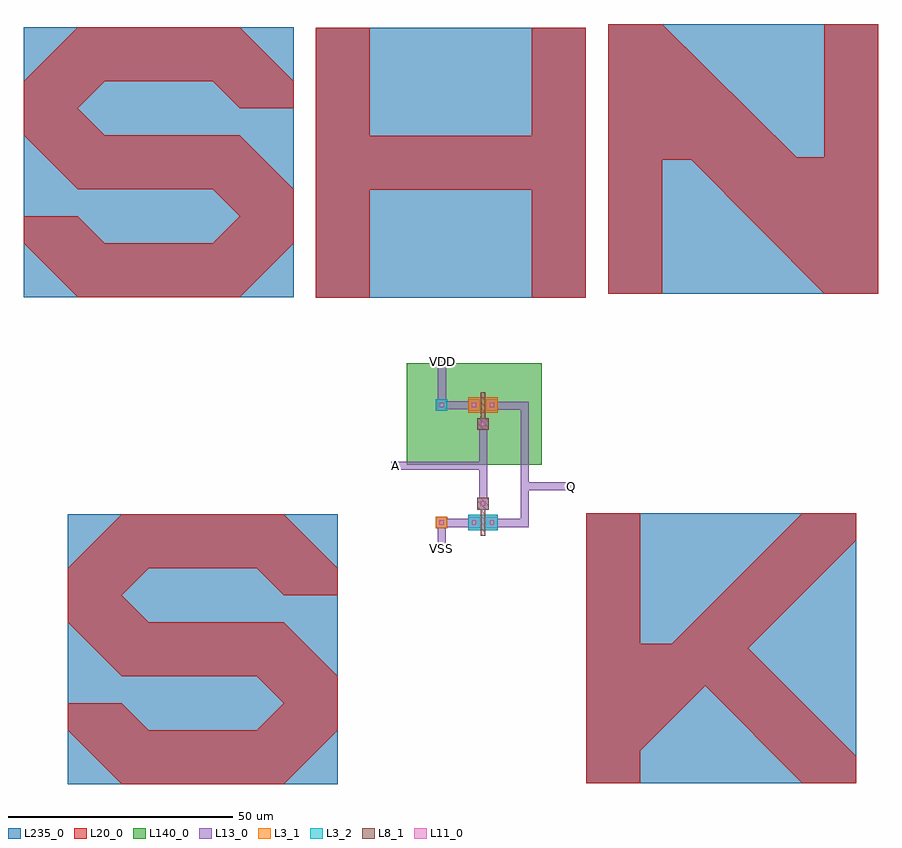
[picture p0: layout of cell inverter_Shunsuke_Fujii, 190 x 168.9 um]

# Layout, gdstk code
from math import pi, radians
import gdstk
lib = gdstk.Library(unit=1e-6, precision=1e-07)
def R(c, l, rs):  # rectangles x0, y0, x1, y1
    for r in rs: c.add(gdstk.rectangle(r[:2], r[2:], *l))
def P(c, l, *ps):  # polygons
    for p in ps: c.add(gdstk.Polygon(p, *l))
L3_1 = (3, 1)
L3_2 = (3, 2)
L8_1 = (8, 1)
L11_0 = (11, 0)
L13_0 = (13, 0)
L20_0 = (20, 0)
L140_0 = (140, 0)
L235_0 = (235, 0)

fet_p = lib.new_cell('fet_p')
R(fet_p, L3_1, [(-3.3,-1.7,3.3,1.7)])
R(fet_p, L11_0, [(-2.5,-0.5,-1.5,0.5), (1.5,-0.5,2.5,0.5)])
R(fet_p, L13_0, [(-3.3,-1.3,-0.7,1.3), (0.7,-1.3,3.3,1.3)])
fet_p.add(gdstk.FlexPath([(0,-2.9),(0,2.9)], 1, ends="flush", simple_path=True, layer=8, datatype=1))  # L8_1

cont_g = lib.new_cell('cont_g')
R(cont_g, L8_1, [(-1.3,-1.3,1.3,1.3)])
R(cont_g, L11_0, [(-0.5,-0.5,0.5,0.5)])
R(cont_g, L13_0, [(-1.3,-1.3,1.3,1.3)])

cont_n = lib.new_cell('cont_n')
R(cont_n, L3_2, [(-1.3,-1.3,1.3,1.3)])
R(cont_n, L11_0, [(-0.5,-0.5,0.5,0.5)])
R(cont_n, L13_0, [(-1.3,-1.3,1.3,1.3)])

cont_p = lib.new_cell('cont_p')
R(cont_p, L3_1, [(-1.3,-1.3,1.3,1.3)])
R(cont_p, L11_0, [(-0.5,-0.5,0.5,0.5)])
R(cont_p, L13_0, [(-1.3,-1.3,1.3,1.3)])

fet_n = lib.new_cell('fet_n')
R(fet_n, L3_2, [(-3.3,-1.7,3.3,1.7)])
R(fet_n, L11_0, [(-2.5,-0.5,-1.5,0.5), (1.5,-0.5,2.5,0.5)])
R(fet_n, L13_0, [(-3.3,-1.3,-0.7,1.3), (0.7,-1.3,3.3,1.3)])
fet_n.add(gdstk.FlexPath([(0,-2.9),(0,2.9)], 1, ends="flush", simple_path=True, layer=8, datatype=1))  # L8_1

c_k = lib.new_cell('K')
P(c_k, L20_0, [(0,0),(0,30),(6,30),(6,15.5),(9.5,15.5),(24,30),(30,30),(30,27),(18,15),(30,3),(30,0),(24,0),(13.2,10.8),(6,3.6),(6,0)])
R(c_k, L235_0, [(0,0,30,30)])

c_s = lib.new_cell('S')
P(c_s, L20_0, [(6,0),(0,6),(0,9),(6,9),(9,6),(21,6),(24,9),(21,12),(6,12),(0,18),(0,24),(6,30),(24,30),(30,24),(30,21),(24,21),(21,24),(9,24),(6,21),(9,18),(24,18),(30,12),(30,6),(24,0)])
R(c_s, L235_0, [(0,0,30,30)])

c_n = lib.new_cell('N')
P(c_n, L20_0, [(0,0),(0,30),(6,30),(20.9,15.2),(24,15.2),(24,30),(30,30),(30,0),(24,0),(9.2,14.9),(6,14.9),(6,0)])
R(c_n, L235_0, [(0,0,30,30)])

c_h = lib.new_cell('H')
P(c_h, L20_0, [(0,0),(0,30),(6,30),(6,18),(24,18),(24,30),(30,30),(30,0),(24,0),(24,12),(6,12),(6,0)])
R(c_h, L235_0, [(0,0,30,30)])

inverter_shunsuke_fujii = lib.new_cell('inverter_Shunsuke_Fujii')
R(inverter_shunsuke_fujii, L140_0, [(-22.9,2.3,7.1,24.8)])
inverter_shunsuke_fujii.add(gdstk.FlexPath([(-15.1,25.4),(-15.1,15.5),(-7.9,15.5)], 1.8, ends="flush", simple_path=True, layer=13, datatype=0))  # L13_0
inverter_shunsuke_fujii.add(gdstk.FlexPath([(-3.9,15.4),(3.3,15.4),(3.3,-10.7),(-4.4,-10.7)], 1.8, ends="flush", simple_path=True, layer=13, datatype=0))  # L13_0
inverter_shunsuke_fujii.add(gdstk.FlexPath([(3.3,-2.5),(14.2,-2.5)], 1.8, ends="flush", simple_path=True, layer=13, datatype=0))  # L13_0
inverter_shunsuke_fujii.add(gdstk.FlexPath([(-5.9,11.2),(-5.9,-6.5)], 1.8, ends="flush", simple_path=True, layer=13, datatype=0))  # L13_0
inverter_shunsuke_fujii.add(gdstk.FlexPath([(-5.9,2),(-26.4,2)], 1.8, ends="flush", simple_path=True, layer=13, datatype=0))  # L13_0
inverter_shunsuke_fujii.add(gdstk.FlexPath([(-7.9,-10.7),(-15.2,-10.7),(-15.2,-16.7)], 1.8, ends="flush", simple_path=True, layer=13, datatype=0))  # L13_0
inverter_shunsuke_fujii.add(gdstk.Reference(fet_p, (-6,15.5), rotation=pi))
inverter_shunsuke_fujii.add(gdstk.Reference(cont_g, (-6,11.3), rotation=pi))
inverter_shunsuke_fujii.add(gdstk.Reference(cont_n, (-15.2,15.5), rotation=pi))
inverter_shunsuke_fujii.add(gdstk.Reference(cont_g, (-6,-6.4), rotation=3*pi/2))
inverter_shunsuke_fujii.add(gdstk.Reference(cont_p, (-15.2,-10.6), rotation=3*pi/2))
inverter_shunsuke_fujii.add(gdstk.Reference(fet_n, (-6,-10.6), rotation=pi))
inverter_shunsuke_fujii.add(gdstk.Reference(c_k, (17,-68.5), magnification=2))
inverter_shunsuke_fujii.add(gdstk.Reference(c_s, (-98.3,-68.7), magnification=2))
inverter_shunsuke_fujii.add(gdstk.Reference(c_n, (21.9,40.2), magnification=2))
inverter_shunsuke_fujii.add(gdstk.Reference(c_h, (-43.2,39.4), magnification=2))
inverter_shunsuke_fujii.add(gdstk.Reference(c_s, (-108.1,39.5), magnification=2))
inverter_shunsuke_fujii.add(gdstk.Label('Q', (13.7,-2.5), layer=48, texttype=0))
inverter_shunsuke_fujii.add(gdstk.Label('VDD', (-15.1,25.2), layer=48, texttype=0))
inverter_shunsuke_fujii.add(gdstk.Label('A', (-25.4,2), layer=48, texttype=0))
inverter_shunsuke_fujii.add(gdstk.Label('VSS', (-15.2,-16.4), layer=48, texttype=0))

lib.write_gds('inverter_Shunsuke_Fujii.gds')
